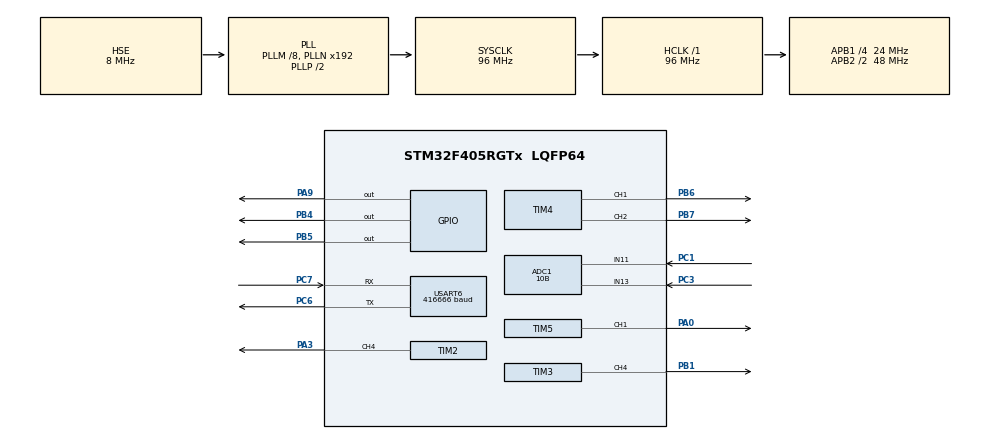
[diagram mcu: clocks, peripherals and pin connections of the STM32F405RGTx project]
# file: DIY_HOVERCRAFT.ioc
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ADC1.Channel-0\#ChannelRegularConversion=ADC_CHANNEL_11
ADC1.Channel-1\#ChannelRegularConversion=ADC_CHANNEL_13
ADC1.NbrOfConversion=2
ADC1.NbrOfConversionFlag=1
ADC1.Rank-0\#ChannelRegularConversion=1
ADC1.Rank-1\#ChannelRegularConversion=2
ADC1.Resolution=ADC_RESOLUTION_10B
ADC1.SamplingTime-0\#ChannelRegularConversion=ADC_SAMPLETIME_84CYCLES
ADC1.SamplingTime-1\#ChannelRegularConversion=ADC_SAMPLETIME_84CYCLES
ADC1.master=1
Dma.ADC1.4.Direction=DMA_PERIPH_TO_MEMORY
Dma.ADC1.4.FIFOMode=DMA_FIFOMODE_ENABLE
Dma.ADC1.4.FIFOThreshold=DMA_FIFO_THRESHOLD_FULL
Dma.ADC1.4.Instance=DMA2_Stream0
Dma.ADC1.4.MemBurst=DMA_MBURST_SINGLE
Dma.ADC1.4.MemDataAlignment=DMA_MDATAALIGN_HALFWORD
Dma.ADC1.4.MemInc=DMA_MINC_ENABLE
Dma.ADC1.4.Mode=DMA_NORMAL
Dma.ADC1.4.PeriphBurst=DMA_PBURST_SINGLE
Dma.ADC1.4.PeriphDataAlignment=DMA_PDATAALIGN_HALFWORD
Dma.ADC1.4.PeriphInc=DMA_PINC_DISABLE
Dma.ADC1.4.Priority=DMA_PRIORITY_LOW
Dma.Request0=TIM3_CH4/UP
Dma.Request1=TIM2_CH2/CH4
Dma.Request2=USART6_RX
Dma.Request3=USART6_TX
Dma.Request4=ADC1
Dma.TIM2_CH2/CH4.1.Direction=DMA_MEMORY_TO_PERIPH
Dma.TIM2_CH2/CH4.1.FIFOMode=DMA_FIFOMODE_ENABLE
Dma.TIM2_CH2/CH4.1.FIFOThreshold=DMA_FIFO_THRESHOLD_1QUARTERFULL
Dma.TIM2_CH2/CH4.1.Instance=DMA1_Stream6
Dma.TIM2_CH2/CH4.1.MemBurst=DMA_MBURST_SINGLE
Dma.TIM2_CH2/CH4.1.MemDataAlignment=DMA_MDATAALIGN_WORD
Dma.TIM2_CH2/CH4.1.MemInc=DMA_MINC_ENABLE
Dma.TIM2_CH2/CH4.1.Mode=DMA_NORMAL
Dma.TIM2_CH2/CH4.1.PeriphBurst=DMA_PBURST_SINGLE
Dma.TIM2_CH2/CH4.1.PeriphDataAlignment=DMA_PDATAALIGN_WORD
Dma.TIM2_CH2/CH4.1.PeriphInc=DMA_PINC_DISABLE
Dma.TIM2_CH2/CH4.1.Priority=DMA_PRIORITY_HIGH
Dma.TIM3_CH4/UP.0.Direction=DMA_MEMORY_TO_PERIPH
Dma.TIM3_CH4/UP.0.FIFOMode=DMA_FIFOMODE_ENABLE
Dma.TIM3_CH4/UP.0.FIFOThreshold=DMA_FIFO_THRESHOLD_1QUARTERFULL
Dma.TIM3_CH4/UP.0.Instance=DMA1_Stream2
Dma.TIM3_CH4/UP.0.MemBurst=DMA_MBURST_SINGLE
Dma.TIM3_CH4/UP.0.MemDataAlignment=DMA_MDATAALIGN_WORD
Dma.TIM3_CH4/UP.0.MemInc=DMA_MINC_ENABLE
Dma.TIM3_CH4/UP.0.Mode=DMA_NORMAL
Dma.TIM3_CH4/UP.0.PeriphBurst=DMA_PBURST_SINGLE
Dma.TIM3_CH4/UP.0.PeriphDataAlignment=DMA_PDATAALIGN_WORD
Dma.TIM3_CH4/UP.0.PeriphInc=DMA_PINC_DISABLE
Dma.TIM3_CH4/UP.0.Priority=DMA_PRIORITY_HIGH
Dma.USART6_RX.2.Direction=DMA_PERIPH_TO_MEMORY
Dma.USART6_RX.2.FIFOMode=DMA_FIFOMODE_ENABLE
Dma.USART6_RX.2.FIFOThreshold=DMA_FIFO_THRESHOLD_HALFFULL
Dma.USART6_RX.2.Instance=DMA2_Stream1
Dma.USART6_RX.2.MemBurst=DMA_MBURST_SINGLE
Dma.USART6_RX.2.MemDataAlignment=DMA_MDATAALIGN_BYTE
Dma.USART6_RX.2.MemInc=DMA_MINC_ENABLE
Dma.USART6_RX.2.Mode=DMA_NORMAL
Dma.USART6_RX.2.PeriphBurst=DMA_PBURST_SINGLE
Dma.USART6_RX.2.PeriphDataAlignment=DMA_PDATAALIGN_BYTE
Dma.USART6_RX.2.PeriphInc=DMA_PINC_DISABLE
Dma.USART6_RX.2.Priority=DMA_PRIORITY_HIGH
Dma.USART6_TX.3.Direction=DMA_MEMORY_TO_PERIPH
Dma.USART6_TX.3.FIFOMode=DMA_FIFOMODE_DISABLE
Dma.USART6_TX.3.Instance=DMA2_Stream6
Dma.USART6_TX.3.MemDataAlignment=DMA_MDATAALIGN_BYTE
Dma.USART6_TX.3.MemInc=DMA_MINC_ENABLE
Dma.USART6_TX.3.Mode=DMA_NORMAL
Dma.USART6_TX.3.PeriphDataAlignment=DMA_PDATAALIGN_BYTE
Dma.USART6_TX.3.PeriphInc=DMA_PINC_DISABLE
Dma.USART6_TX.3.Priority=DMA_PRIORITY_LOW
Mcu.Family=STM32F4
Mcu.Name=STM32F405RGTx
Mcu.Package=LQFP64
NVIC.ADC_IRQn=true\:0\:0\:false\:false\:true\:true\:true\:true
NVIC.DMA1_Stream2_IRQn=true\:0\:0\:false\:false\:true\:false\:true\:true
NVIC.DMA1_Stream6_IRQn=true\:0\:0\:false\:false\:true\:false\:true\:true
NVIC.DMA2_Stream0_IRQn=true\:0\:0\:false\:false\:true\:false\:true\:true
NVIC.DMA2_Stream1_IRQn=true\:2\:0\:true\:false\:true\:false\:true\:true
NVIC.DMA2_Stream6_IRQn=true\:0\:0\:false\:false\:true\:false\:true\:true
NVIC.PriorityGroup=NVIC_PRIORITYGROUP_4
NVIC.USART6_IRQn=true\:1\:0\:true\:false\:true\:true\:true\:true
PA0-WKUP.Signal=S_TIM5_CH1
PA13.Mode=Serial_Wire
PA13.Signal=SYS_JTMS-SWDIO
PA14.Mode=Serial_Wire
PA14.Signal=SYS_JTCK-SWCLK
PA3.Signal=S_TIM2_CH4
PA9.Signal=GPIO_Output
PB1.Signal=S_TIM3_CH4
PB4.Signal=GPIO_Output
PB5.Signal=GPIO_Output
PB6.Signal=S_TIM4_CH1
PB7.Signal=S_TIM4_CH2
PC1.Signal=ADCx_IN11
PC3.Signal=ADCx_IN13
PC6.Mode=Asynchronous
PC6.Signal=USART6_TX
PC7.Mode=Asynchronous
PC7.Signal=USART6_RX
PH0-OSC_IN.Mode=HSE-External-Oscillator
PH0-OSC_IN.Signal=RCC_OSC_IN
PH1-OSC_OUT.Mode=HSE-External-Oscillator
PH1-OSC_OUT.Signal=RCC_OSC_OUT
ProjectManager.HeapSize=0x200
ProjectManager.StackSize=0x400
ProjectManager.TargetToolchain=STM32CubeIDE
RCC.48MHZClocksFreq_Value=48000000
RCC.AHBFreq_Value=96000000
RCC.APB1CLKDivider=RCC_HCLK_DIV4
RCC.APB1Freq_Value=24000000
RCC.APB1TimFreq_Value=48000000
RCC.APB2CLKDivider=RCC_HCLK_DIV2
RCC.APB2Freq_Value=48000000
RCC.APB2TimFreq_Value=96000000
RCC.CortexFreq_Value=96000000
RCC.EnbaleCSS=true
RCC.HCLKFreq_Value=96000000
RCC.HSE_VALUE=8000000
RCC.HSI_VALUE=16000000
RCC.LSE_VALUE=32768
RCC.PLLM=8
RCC.PLLSourceVirtual=RCC_PLLSOURCE_HSE
RCC.SYSCLKFreq_VALUE=96000000
RCC.SYSCLKSource=RCC_SYSCLKSOURCE_PLLCLK
RCC.VCOOutputFreq_Value=192000000
SH.ADCx_IN11.0=ADC1_IN11,IN11
SH.ADCx_IN13.0=ADC1_IN13,IN13
SH.S_TIM2_CH4.0=TIM2_CH4,PWM Generation4 CH4
SH.S_TIM3_CH4.0=TIM3_CH4,PWM Generation4 CH4
SH.S_TIM4_CH1.0=TIM4_CH1,PWM Generation1 CH1
SH.S_TIM4_CH2.0=TIM4_CH2,PWM Generation2 CH2
SH.S_TIM5_CH1.0=TIM5_CH1,PWM Generation1 CH1
TIM2.AutoReloadPreload=TIM_AUTORELOAD_PRELOAD_DISABLE
TIM2.Channel-PWM\ Generation4\ CH4=TIM_CHANNEL_4
TIM2.Period=0
TIM3.Channel-PWM\ Generation4\ CH4=TIM_CHANNEL_4
TIM3.Period=0
TIM4.Channel-PWM\ Generation1\ CH1=TIM_CHANNEL_1
TIM4.Channel-PWM\ Generation2\ CH2=TIM_CHANNEL_2
TIM5.Channel-PWM\ Generation1\ CH1=TIM_CHANNEL_1
TIM5.Period=0
USART6.BaudRate=416666
USART6.VirtualMode=VM_ASYNC
VP_TIM2_VS_ClockSourceINT.Mode=Internal
VP_TIM3_VS_ClockSourceINT.Mode=Internal
VP_TIM4_VS_ClockSourceINT.Mode=Internal
VP_TIM5_VS_ClockSourceINT.Mode=Internal
board=custom

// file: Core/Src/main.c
/* USER CODE BEGIN Header */
/**
 ******************************************************************************
 * @file           : main.c
 * @brief          : Main program body
 ******************************************************************************
 * @attention
 *
 * Copyright (c) 2024 STMicroelectronics.
 * All rights reserved.
 *
 * This software is licensed under terms that can be found in the LICENSE file
 * in the root directory of this software component.
 * If no LICENSE file comes with this software, it is provided AS-IS.
 *
 ******************************************************************************
 */
/* USER CODE END Header */
#include "main.h"
#include "adc.h"
#include "dma.h"
#include "tim.h"
#include "usart.h"
#include "gpio.h"

/* USER CODE BEGIN Includes */
#include "dshot.h"
#include "crsf.h"
#include "stdbool.h"
/* USER CODE END Includes */

/* USER CODE BEGIN PD */
#define min_servo 950
#define max_servo 2180
#define deadband 100
#define vbat_scale 110
#define vbat_divider 10
#define vbat_multiplier 1
#define ibata_scale 400
#define ibata_offset 0

#define total_number_of_samples 100
#define number_of_motors 2
/* USER CODE END PD */

/* USER CODE BEGIN PV */
uint16_t my_motor_value[4] = {0, 0, 0, 0};
volatile int angle = 0;
volatile int anglex = 0;
volatile int angley = 0;
typedef enum
{
	IDLE = 0,
	PREARMED,
	NOPREARM,
	ARMED,
	FAILSAFE
} armingstate_t;
armingstate_t arm_state = 0;

volatile uint16_t raw_adc_data[3] = {0};

uint16_t average_motor_values[number_of_motors][total_number_of_samples] = {0};
double final_motor_values[number_of_motors] = {0};
// 0 , 1 are dshot motors
//  2 3 4 are servos

int bat_0_voltage = 150;
int bat_100_voltage = 168;
bool first_startup = true;

/* USER CODE END PV */

void SystemClock_Config(void);
/* USER CODE BEGIN PFP */
float map(float value_to_map, float from_low, float from_high, float to_low, float to_high, bool constrain_within_range);
void convert_to_big_endian(uint8_t *dst, uint8_t bytes);
bool subtract_and_compare_unsigned(uint32_t a, uint32_t b, uint32_t c, uint32_t max_size);

/* USER CODE END PFP */

int main(void)
{

	/* MCU Configuration--------------------------------------------------------*/

	/* Reset of all peripherals, Initializes the Flash interface and the Systick. */
	HAL_Init();

	/* Configure the system clock */
	SystemClock_Config();

	/* Initialize all configured peripherals */
	MX_GPIO_Init();
	MX_DMA_Init();
	MX_TIM2_Init();
	MX_TIM3_Init();
	MX_TIM5_Init();
	MX_USART6_UART_Init();
	MX_TIM4_Init();
	MX_ADC1_Init();
	/* USER CODE BEGIN 2 */
	dshot_init(DSHOT600);
	crsf_init();
	HAL_GPIO_TogglePin(GPIOA, GPIO_PIN_9);

	// want the timer to run at 1 mhz (u can choose any )
	// so prescaler = 48mhz(apb1) / 1mhz = 48
	__HAL_TIM_SET_PRESCALER(&htim5, 48);
	__HAL_TIM_SET_PRESCALER(&htim4, 48);
	// for 50hz the arr value should be 1mhz/50 = 20000
	__HAL_TIM_SET_AUTORELOAD(&htim5, 20000);
	__HAL_TIM_SET_COMPARE(&htim5, TIM_CHANNEL_1, (min_servo + max_servo) / 2);
	HAL_TIM_PWM_Start(&htim5, TIM_CHANNEL_1);

	__HAL_TIM_SET_AUTORELOAD(&htim4, 20000);
	__HAL_TIM_SET_COMPARE(&htim4, TIM_CHANNEL_1, 2300);
	__HAL_TIM_SET_COMPARE(&htim4, TIM_CHANNEL_2, 2050);
	HAL_TIM_PWM_Start(&htim4, TIM_CHANNEL_1);
	HAL_TIM_PWM_Start(&htim4, TIM_CHANNEL_2);

	// adc
	// HAL_ADC_Start_DMA(&hadc1,(uint32_t *)raw_adc_data , 2); // take readings from adc

	// arm esc
	dshot_arm();
	// enable_dshot_3d(0);
	// dshot_reverse_direction(0);// back motor
	// dshot_reverse_direction(2);

	/* USER CODE END 2 */

	/* Infinite loop */
	/* USER CODE BEGIN WHILE */
	while (1)
	{
		for (int i = total_number_of_samples - 1; i > 0; i--)
		{
			for (int j = 0; j < number_of_motors; j++)
			{
				average_motor_values[j][i] = average_motor_values[j][i - 1];
				// shift to right
			}
		}
		HAL_GPIO_TogglePin(GPIOB, GPIO_PIN_5);
		if (arm_state == ARMED && channel_data.channel5 < CRSF_CHANNEL_VALUE_MID + 20)
			arm_state = IDLE;
		else if (arm_state == IDLE && channel_data.channel6 > CRSF_CHANNEL_VALUE_MID + 20 && channel_data.channel5 < CRSF_CHANNEL_VALUE_MID + 20)
			arm_state = PREARMED;
		else if (arm_state == IDLE && channel_data.channel6 < CRSF_CHANNEL_VALUE_MID + 20 && channel_data.channel5 > CRSF_CHANNEL_VALUE_MID + 20)
			arm_state = NOPREARM;
		else if (arm_state == PREARMED && channel_data.channel6 > CRSF_CHANNEL_VALUE_MID + 20 && channel_data.channel5 > CRSF_CHANNEL_VALUE_MID + 20)
			arm_state = ARMED;
		else if (arm_state == NOPREARM && channel_data.channel6 < CRSF_CHANNEL_VALUE_MID + 20)
			arm_state = IDLE;

		//	  if(rx_buffer[0] | rx_buffer[1] | rx_buffer[2] | rx_buffer[3] | rx_buffer[4])
		//	  {
		//		  HAL_GPIO_TogglePin(GPIOB, GPIO_PIN_4);
		//	  }

		if (arm_state == ARMED) // arm channel
		{
			if (channel_data.channel6 < 1500)
				my_motor_value[2] = map(channel_data.channel3, CRSF_CHANNEL_VALUE_1000, CRSF_CHANNEL_VALUE_2000, DSHOT_3DN_MIN_THROTTLE, DSHOT_3DN_MAX_THROTTLE, true);
			else
				// reverse throttle for thrust motor if prearm switch is held
				my_motor_value[2] = map(channel_data.channel3, CRSF_CHANNEL_VALUE_1000, CRSF_CHANNEL_VALUE_2000, DSHOT_3DR_MIN_THROTTLE, DSHOT_3DR_MAX_THROTTLE, true);

			// back motor
			if (channel_data.channel2 >= CRSF_CHANNEL_VALUE_MID + deadband)
				my_motor_value[0] = map(channel_data.channel2, CRSF_CHANNEL_VALUE_MID + deadband, CRSF_CHANNEL_VALUE_2000, DSHOT_3DN_MIN_THROTTLE, DSHOT_3DN_MAX_THROTTLE, true); // correct this
			else if (channel_data.channel2 <= CRSF_CHANNEL_VALUE_MID - deadband)
				my_motor_value[0] = map(channel_data.channel2, CRSF_CHANNEL_VALUE_1000, CRSF_CHANNEL_VALUE_MID - deadband, DSHOT_3DR_MAX_THROTTLE, DSHOT_3DR_MIN_THROTTLE, true); // correct this
			else
				my_motor_value[0] = DSHOT_3D_NEUTRAL;

			angle = map(channel_data.channel1, CRSF_CHANNEL_VALUE_1000, CRSF_CHANNEL_VALUE_2000, min_servo, max_servo, true);
			average_motor_values[0][0] = map(channel_data.channel10, CRSF_CHANNEL_VALUE_1000, CRSF_CHANNEL_VALUE_2000, 750, 2500, true);
			average_motor_values[1][0] = map(channel_data.channel11, CRSF_CHANNEL_VALUE_1000, CRSF_CHANNEL_VALUE_2000, min_servo, max_servo, true);
		}
		else
		{
			my_motor_value[0] = 0;
			my_motor_value[2] = 0;
			angle = (min_servo + max_servo) / 2;
		}

		for (int j = 0; j < number_of_motors; j++)
		{
			final_motor_values[j] = 0;
			// shift to right
		}
		for (int i = 0; i < total_number_of_samples; i++)
		{
			for (int j = 0; j < number_of_motors; j++)
			{
				final_motor_values[j] += (average_motor_values[j][i]) / total_number_of_samples;
			}
		}
		anglex = (int)(final_motor_values[0]);
		angley = (int)(final_motor_values[1]);

		if (arm_state == FAILSAFE)
		{
			if (!(USART6->SR && (1 << 3)))
			{
				// not over run error
				dshot_beep(0, 2);
			}
			else
			{
				//			  HAL_GPIO_TogglePin(GPIOB, GPIO_PIN_4);
				HAL_UART_ErrorCallback(&huart6);
			}
			dshot_beep(2, 2);
			angle = 1000;
		}
		__HAL_TIM_SET_COMPARE(&htim5, TIM_CHANNEL_1, angle);
		__HAL_TIM_SET_COMPARE(&htim4, TIM_CHANNEL_1, anglex);
		__HAL_TIM_SET_COMPARE(&htim4, TIM_CHANNEL_2, angley);
		if (my_motor_value[0] == 0 && my_motor_value[2] == 0 && channel_data.channel9 > 1500)
		{
			dshot_beep(0, 2);
			dshot_beep(2, 2);
		}
		else
		{
			dshot_write(my_motor_value, false);
		}

		// telemetry
		if ((uint16_t)(HAL_GetTick() - telem_last_sent) > 500 && arm_state != FAILSAFE && sent_telemetry) // send battery telemetry every 500ms
		{
			send_telemetry = true;
			sent_telemetry = false;
			HAL_ADC_Start_DMA(&hadc1, (uint32_t *)raw_adc_data, 2); // take readings from adc

			// in future before sending check whether old data sent or not
		}

		// FAILSAFE detection
		if ((uint32_t)(HAL_GetTick() - last_packet_received_time) > 500) // no packet received in 1 second
		{
			arm_state = FAILSAFE;
			new_packet_recieved = false;
			last_packet_received_time = HAL_GetTick();
		}
		else if (arm_state == FAILSAFE && new_packet_recieved == true)
		{
			arm_state = IDLE;
		}

		/* USER CODE END WHILE */

	}
}

void SystemClock_Config(void)
{
	RCC_OscInitTypeDef RCC_OscInitStruct = {0};
	RCC_ClkInitTypeDef RCC_ClkInitStruct = {0};

	/** Configure the main internal regulator output voltage
	 */
	__HAL_RCC_PWR_CLK_ENABLE();
	__HAL_PWR_VOLTAGESCALING_CONFIG(PWR_REGULATOR_VOLTAGE_SCALE1);

	/** Initializes the RCC Oscillators according to the specified parameters
	 * in the RCC_OscInitTypeDef structure.
	 */
	RCC_OscInitStruct.OscillatorType = RCC_OSCILLATORTYPE_HSE;
	RCC_OscInitStruct.HSEState = RCC_HSE_ON;
	RCC_OscInitStruct.PLL.PLLState = RCC_PLL_ON;
	RCC_OscInitStruct.PLL.PLLSource = RCC_PLLSOURCE_HSE;
	RCC_OscInitStruct.PLL.PLLM = 8;
	RCC_OscInitStruct.PLL.PLLN = 192;
	RCC_OscInitStruct.PLL.PLLP = RCC_PLLP_DIV2;
	RCC_OscInitStruct.PLL.PLLQ = 4;
	if (HAL_RCC_OscConfig(&RCC_OscInitStruct) != HAL_OK)
	{
		Error_Handler();
	}

	/** Initializes the CPU, AHB and APB buses clocks
	 */
	RCC_ClkInitStruct.ClockType = RCC_CLOCKTYPE_HCLK | RCC_CLOCKTYPE_SYSCLK | RCC_CLOCKTYPE_PCLK1 | RCC_CLOCKTYPE_PCLK2;
	RCC_ClkInitStruct.SYSCLKSource = RCC_SYSCLKSOURCE_PLLCLK;
	RCC_ClkInitStruct.AHBCLKDivider = RCC_SYSCLK_DIV1;
	RCC_ClkInitStruct.APB1CLKDivider = RCC_HCLK_DIV4;
	RCC_ClkInitStruct.APB2CLKDivider = RCC_HCLK_DIV2;

	if (HAL_RCC_ClockConfig(&RCC_ClkInitStruct, FLASH_LATENCY_3) != HAL_OK)
	{
		Error_Handler();
	}

	/** Enables the Clock Security System
	 */
	HAL_RCC_EnableCSS();
}

/* USER CODE BEGIN 4 */

float map(float value_to_map, float from_low, float from_high, float to_low, float to_high, bool constrain_within_range)
{

	value_to_map = (value_to_map - from_low) * ((to_high - to_low) / (from_high - from_low)) + to_low;
	if (constrain_within_range)
	{
		if (to_high >= to_low)
		{
			value_to_map = value_to_map > to_high ? to_high : value_to_map;
			value_to_map = value_to_map < to_low ? to_low : value_to_map;
		}
		else
		{
			// to low is the higher limit
			value_to_map = value_to_map < to_high ? to_high : value_to_map;
			value_to_map = value_to_map > to_low ? to_low : value_to_map;
		}
	}
	return value_to_map;
}

void HAL_ADC_ConvCpltCallback(ADC_HandleTypeDef *hadc)
{
	if (hadc->Instance == ADC1)
	{
		bat.voltage = (uint16_t)(((raw_adc_data[0] * 3.3 / (float)1024) * vbat_scale * vbat_multiplier / (float)vbat_divider) * 10.0); // battery voltage in 0.1V units
		bat.current = (uint16_t)(((raw_adc_data[1] * 3.3 / (float)1024) * ibata_scale - ibata_offset) * 10.0);						   // battery voltage in 0.1A units
		if (first_startup)
		{
			first_startup = false;
			if (bat.voltage > 152)
			{
				// 4s
				bat_0_voltage = 152;
				bat_100_voltage = 168;
			}
			else if (bat.voltage > 114)
			{
				// 3s
				bat_0_voltage = 114;
				bat_100_voltage = 126;
			}
			else if (bat.voltage > 76)
			{
				// 3s
				bat_0_voltage = 76;
				bat_100_voltage = 84;
			}
		}
		bat.remaining = (uint8_t)(map(bat.voltage, bat_0_voltage, bat_100_voltage, 0, 100, true));
	}
}

bool subtract_and_compare_unsigned(uint32_t a, uint32_t b, uint32_t c, uint32_t max_size)
{
	uint32_t difference = 0;
	if (a > b)
		difference = a - b;
	if (a <= b)
		difference = a - b + max_size;

	if (difference > c)
		return true;
	return false;
}

// void HAL_TIM_PWM_PulseFinishedCallback(TIM_HandleTypeDef *htim)
//{
//	if(htim->Instance == TIM5)
//		{
//			__HAL_TIM_SET_COMPARE(&htim5, TIM_CHANNEL_1 ,angle);
//		}
//	if(htim->Instance == TIM4)
//		{
//			__HAL_TIM_SET_COMPARE(&htim4, TIM_CHANNEL_1 ,anglex);
//			__HAL_TIM_SET_COMPARE(&htim4, TIM_CHANNEL_2 ,angley);
//		}
//
// }

/* USER CODE END 4 */

void Error_Handler(void)
{
	__disable_irq();
	while (1)
	{
	}
}
